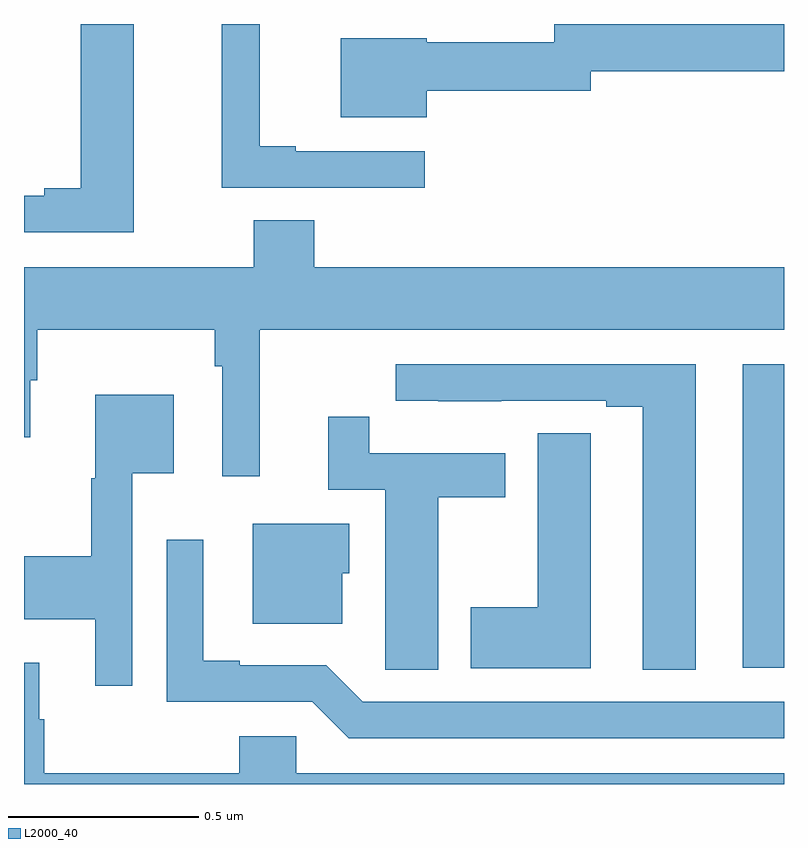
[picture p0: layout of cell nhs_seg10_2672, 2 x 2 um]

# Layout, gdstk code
import gdstk
lib = gdstk.Library(unit=1e-6, precision=1e-09)
def R(c, l, rs):  # rectangles x0, y0, x1, y1
    for r in rs: c.add(gdstk.rectangle(r[:2], r[2:], *l))
def P(c, l, *ps):  # polygons
    for p in ps: c.add(gdstk.Polygon(p, *l))
L2000_40 = (2000, 40)

nhs_seg10_2672 = lib.new_cell('nhs_seg10_2672')
R(nhs_seg10_2672, L2000_40, [(145.892,1252.806,146,1253.604)])
P(nhs_seg10_2672, L2000_40, [(144.289,1254.5),(144.149,1254.5),(144.149,1254.068),(144.053,1254.068),(144.053,1254.048),(144,1254.048),(144,1253.952),(144.289,1253.952)],
  [(145.054,1254.165),(144.715,1254.165),(144.715,1254.178),(144.62,1254.178),(144.62,1254.5),(144.52,1254.5),(144.52,1254.069),(145.054,1254.069)],
  [(145.06,1254.324),(145.491,1254.324),(145.491,1254.376),(146,1254.376),(146,1254.5),(145.395,1254.5),(145.395,1254.452),(145.06,1254.452),(145.06,1254.463),(144.833,1254.463),(144.833,1254.254),(145.06,1254.254)],
  [(144.62,1253.696),(146,1253.696),(146,1253.86),(144.764,1253.86),(144.764,1253.984),(144.604,1253.984),(144.604,1253.86),(144,1253.86),(144,1253.412),(144.016,1253.412),(144.016,1253.562),(144.035,1253.562),(144.035,1253.696),(144.502,1253.696),(144.502,1253.6),(144.522,1253.6),(144.522,1253.31),(144.62,1253.31)],
  [(145.768,1253.604),(144.978,1253.604),(144.978,1253.508),(145.09,1253.508),(145.09,1253.507),(145.256,1253.507),(145.256,1253.508),(145.532,1253.508),(145.532,1253.493),(145.628,1253.493),(145.628,1252.801),(145.768,1252.801)],
  [(144.285,1253.318),(144.394,1253.318),(144.394,1253.524),(144.188,1253.524),(144.188,1253.304),(144.177,1253.304),(144.177,1253.1),(144,1253.1),(144,1252.934),(144.188,1252.934),(144.188,1252.758),(144.285,1252.758)],
  [(145.09,1253.254),(145.267,1253.254),(145.267,1253.37),(144.908,1253.37),(144.908,1253.467),(144.8,1253.467),(144.8,1253.274),(144.95,1253.274),(144.95,1252.912),(144.951,1252.912),(144.951,1252.801),(145.09,1252.801)],
  [(145.492,1253.315),(145.491,1253.315),(145.491,1253.423),(145.352,1253.423),(145.352,1252.965),(145.175,1252.965),(145.175,1252.805),(145.492,1252.805)],
  [(144.838,1253.055),(144.856,1253.055),(144.856,1253.185),(144.602,1253.185),(144.602,1252.922),(144.838,1252.922)],
  [(146,1252.716),(144.891,1252.716),(144.795,1252.812),(144.568,1252.812),(144.568,1252.825),(144.472,1252.825),(144.472,1253.143),(144.375,1253.143),(144.375,1252.716),(144.759,1252.716),(144.855,1252.62),(146,1252.62)],
  [(146,1252.528),(144.717,1252.528),(144.717,1252.626),(144.566,1252.626),(144.566,1252.528),(144.053,1252.528),(144.053,1252.67),(144.04,1252.67),(144.04,1252.819),(144,1252.819),(144,1252.5),(146,1252.5)])

lib.write_gds('nhs_seg10_2672.gds')
